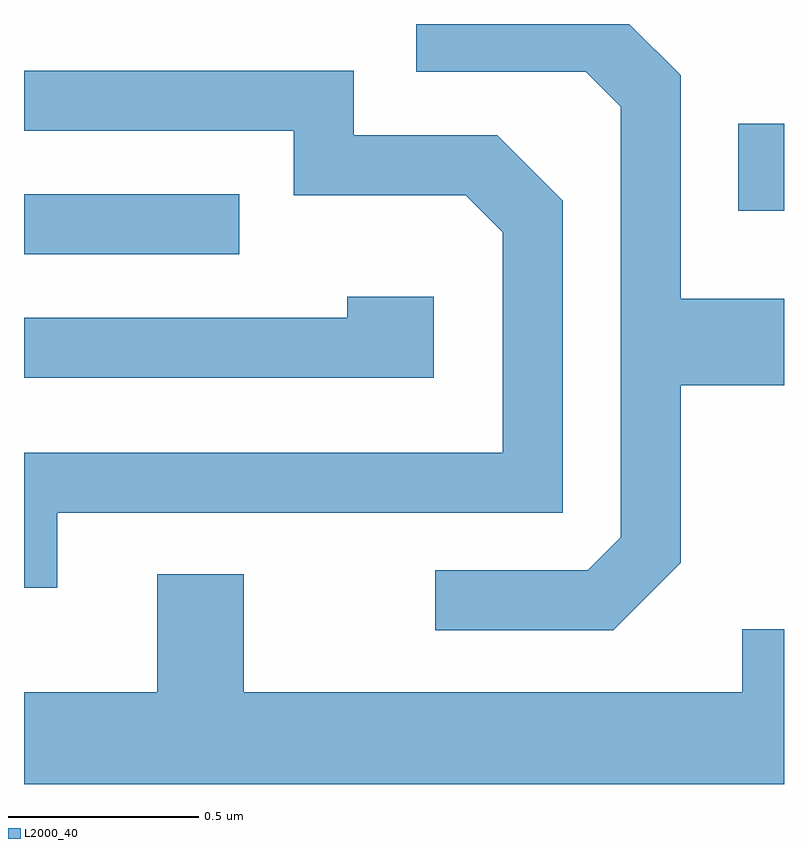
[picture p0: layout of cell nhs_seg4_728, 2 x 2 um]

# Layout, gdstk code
import gdstk
lib = gdstk.Library(unit=1e-6, precision=1e-09)
def R(c, l, rs):  # rectangles x0, y0, x1, y1
    for r in rs: c.add(gdstk.rectangle(r[:2], r[2:], *l))
def P(c, l, *ps):  # polygons
    for p in ps: c.add(gdstk.Polygon(p, *l))
L2000_40 = (2000, 40)

nhs_seg4_728 = lib.new_cell('nhs_seg4_728')
R(nhs_seg4_728, L2000_40, [(190.611,1298.376,191.178,1298.534), (192.491,1298.491,192.611,1298.719)])
P(nhs_seg4_728, L2000_40, [(192.339,1297.564),(192.339,1298.031),(192.611,1298.031),(192.611,1298.259),(192.339,1298.259),(192.339,1298.847),(192.204,1298.982),(191.643,1298.982),(191.643,1298.856),(192.089,1298.856),(192.181,1298.764),(192.181,1297.632),(192.094,1297.544),(191.693,1297.544),(191.693,1297.386),(192.162,1297.386)],
  [(190.699,1297.696),(192.029,1297.696),(192.029,1298.517),(191.857,1298.689),(191.479,1298.689),(191.479,1298.859),(190.611,1298.859),(190.611,1298.701),(191.321,1298.701),(191.321,1298.531),(191.774,1298.531),(191.871,1298.434),(191.871,1297.854),(190.611,1297.854),(190.611,1297.498),(190.699,1297.498)],
  [(191.689,1298.264),(191.461,1298.264),(191.461,1298.209),(190.611,1298.209),(190.611,1298.051),(191.689,1298.051)],
  [(192.611,1297.389),(192.501,1297.389),(192.501,1297.224),(191.189,1297.224),(191.189,1297.534),(190.961,1297.534),(190.961,1297.224),(190.611,1297.224),(190.611,1296.982),(192.611,1296.982)])

lib.write_gds('nhs_seg4_728.gds')
